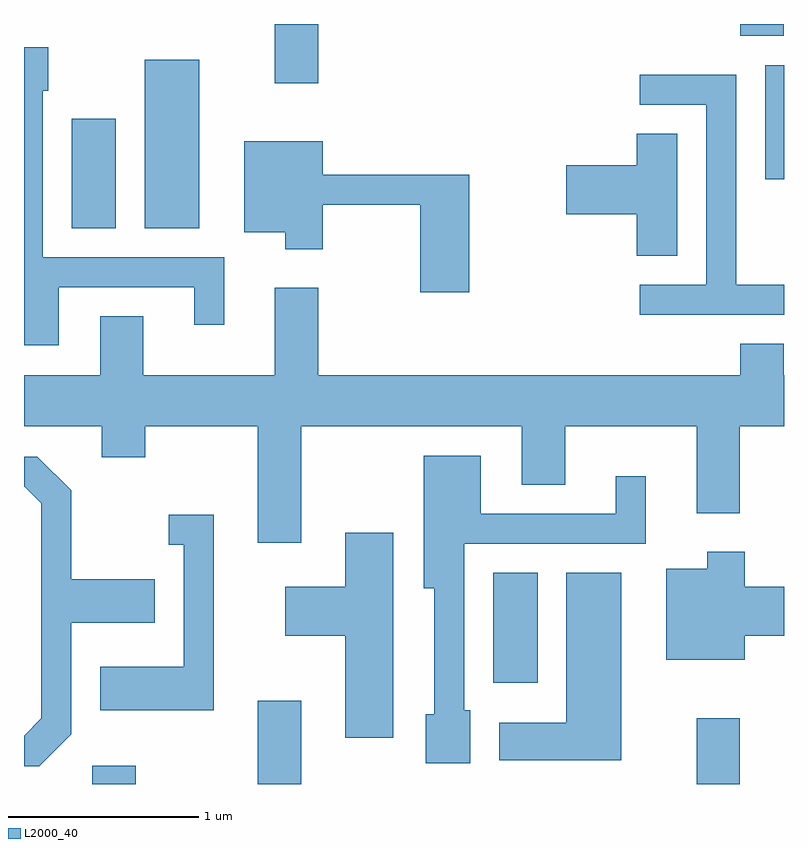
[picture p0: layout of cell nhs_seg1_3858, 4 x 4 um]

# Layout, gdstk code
import gdstk
lib = gdstk.Library(unit=1e-6, precision=1e-09)
def R(c, l, rs):  # rectangles x0, y0, x1, y1
    for r in rs: c.add(gdstk.rectangle(r[:2], r[2:], *l))
def P(c, l, *ps):  # polygons
    for p in ps: c.add(gdstk.Polygon(p, *l))
L2000_40 = (2000, 40)

nhs_seg1_3858 = lib.new_cell('nhs_seg1_3858')
R(nhs_seg1_3858, L2000_40, [(301.971,877.712,302.199,877.809), (302.841,877.712,303.069,878.149), (305.151,877.712,305.379,878.059), (304.081,878.246,304.314,878.824), (301.861,880.636,302.094,881.214), (302.246,880.636,302.534,881.524), (305.511,880.896,305.611,881.494), (302.931,881.401,303.159,881.712), (305.381,881.651,305.609,881.712)])
P(nhs_seg1_3858, L2000_40, [(301.794,880.326),(302.506,880.326),(302.506,880.128),(302.664,880.128),(302.664,880.484),(301.709,880.484),(301.709,881.361),(301.739,881.361),(301.739,881.589),(301.611,881.589),(301.611,880.021),(301.794,880.021)],
  [(305.611,880.339),(305.359,880.339),(305.359,881.444),(304.853,881.444),(304.853,881.286),(305.201,881.286),(305.201,880.339),(304.853,880.339),(304.853,880.181),(305.611,880.181)],
  [(305.049,881.134),(304.836,881.134),(304.836,880.969),(304.466,880.969),(304.466,880.711),(304.836,880.711),(304.836,880.491),(305.049,880.491)],
  [(303.954,880.919),(303.184,880.919),(303.184,881.094),(302.771,881.094),(302.771,880.616),(302.986,880.616),(302.986,880.526),(303.184,880.526),(303.184,880.761),(303.696,880.761),(303.696,880.301),(303.954,880.301)],
  [(303.069,879.596),(304.231,879.596),(304.231,879.286),(304.459,879.286),(304.459,879.596),(305.151,879.596),(305.151,879.136),(305.379,879.136),(305.379,879.596),(305.611,879.596),(305.611,879.864),(305.609,879.864),(305.609,880.029),(305.381,880.029),(305.381,879.864),(303.159,879.864),(303.159,880.324),(302.931,880.324),(302.931,879.864),(302.239,879.864),(302.239,880.174),(302.011,880.174),(302.011,879.864),(301.611,879.864),(301.611,879.596),(302.021,879.596),(302.021,879.431),(302.249,879.431),(302.249,879.596),(302.841,879.596),(302.841,878.981),(303.069,878.981)],
  [(303.959,878.099),(303.929,878.099),(303.929,878.976),(304.884,878.976),(304.884,879.333),(304.726,879.333),(304.726,879.134),(304.014,879.134),(304.014,879.439),(303.716,879.439),(303.716,878.741),(303.771,878.741),(303.771,878.079),(303.726,878.079),(303.726,877.821),(303.959,877.821)],
  [(301.859,877.974),(301.859,878.561),(302.299,878.561),(302.299,878.789),(301.859,878.789),(301.859,879.257),(301.682,879.434),(301.611,879.434),(301.611,879.276),(301.614,879.276),(301.701,879.189),(301.701,878.057),(301.611,877.966),(301.611,877.806),(301.692,877.806)],
  [(302.609,879.129),(302.373,879.129),(302.373,878.971),(302.451,878.971),(302.451,878.329),(302.011,878.329),(302.011,878.101),(302.609,878.101)],
  [(303.554,879.034),(303.301,879.034),(303.301,878.749),(302.986,878.749),(302.986,878.491),(303.301,878.491),(303.301,877.956),(303.554,877.956)],
  [(305.404,878.491),(305.611,878.491),(305.611,878.749),(305.404,878.749),(305.404,878.934),(305.206,878.934),(305.206,878.844),(304.991,878.844),(304.991,878.366),(305.404,878.366)],
  [(304.754,878.824),(304.466,878.824),(304.466,878.034),(304.111,878.034),(304.111,877.836),(304.754,877.836)])

lib.write_gds('nhs_seg1_3858.gds')
